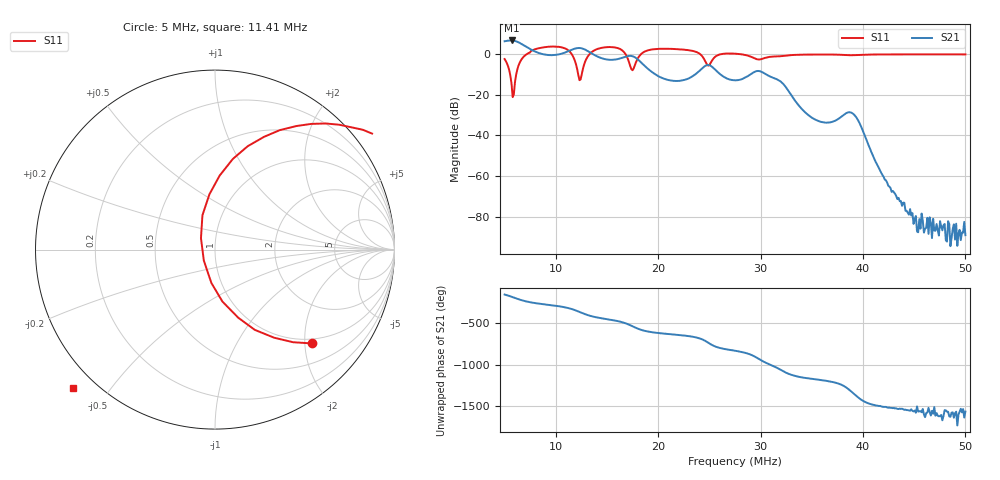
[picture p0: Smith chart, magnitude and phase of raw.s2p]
! S11/S21 only; reverse parameters are placeholders. Device calibration unverified.
! NanoVNA F V2 profile | COM3 | 2026-09-08T12:10:56.7924094-04:00 | device calibration unverified
# HZ S RI R 50
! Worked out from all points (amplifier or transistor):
!   401 points, 5 MHz to 50 MHz, reference 50 ohm
!   highest |S21| = 6.6 dB at 5.675 MHz (marker M1)
!   |S21| within 3 dB of that: start of sweep to 7.078 MHz
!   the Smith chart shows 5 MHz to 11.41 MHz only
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5000000  0.5385 -0.5226  -1.793 -1.001  0 0  0 0
5675000  -0.0203 -0.1855  -2.144 -0.1115  0 0  0 0
6462500  0.1822 0.576  -1.599 0.9814  0 0  0 0
7250000  0.7577 0.6818  -0.7644 1.209  0 0  0 0
7812500  0.6325 -1.093  -0.3963 1.132  0 0  0 0
9950000  -0.1208 -1.514  0.2613 0.91  0 0  0 0
1.1525e7  -0.788 -0.6346  1.029 0.7246  0 0  0 0
1.25375e7  0.2246 0.2274  1.339 -0.2994  0 0  0 0
1.3775e7  1.075 -0.5968  0.4519 -0.8279  0 0  0 0
1.56875e7  0.5073 -1.367  -0.1643 -0.705  0 0  0 0
1.6475e7  -0.1569 -1.221  -0.4612 -0.6594  0 0  0 0
1.715e7  -0.5671 -0.2744  -0.8125 -0.3791  0 0  0 0
1.79375e7  0.4657 0.5477  -0.7157 0.2582  0 0  0 0
2.0075e7  1.288 -0.3571  -0.0627 0.2726  0 0  0 0
2.46875e7  0.3895 -0.4438  0.5242 0.0176  0 0  0 0
2.75e7  0.8903 -0.4905  -0.0758 -0.213  0 0  0 0
3.02e7  0.683 -0.3474  -0.1955 0.2953  0 0  0 0
3.50375e7  0.703 -0.6649  -0.000433 -0.027  0 0  0 0
3.90875e7  0.5429 -0.7631  -0.000731 0.0332  0 0  0 0
4.2575e7  0.4412 -0.8674  0.000115 -0.000545  0 0  0 0
4.51625e7  0.3423 -0.9172  -8.1e-05 -6.8e-05  0 0  0 0
5e7  0.1601 -0.9627  -2.1e-05 -2.9e-05  0 0  0 0
